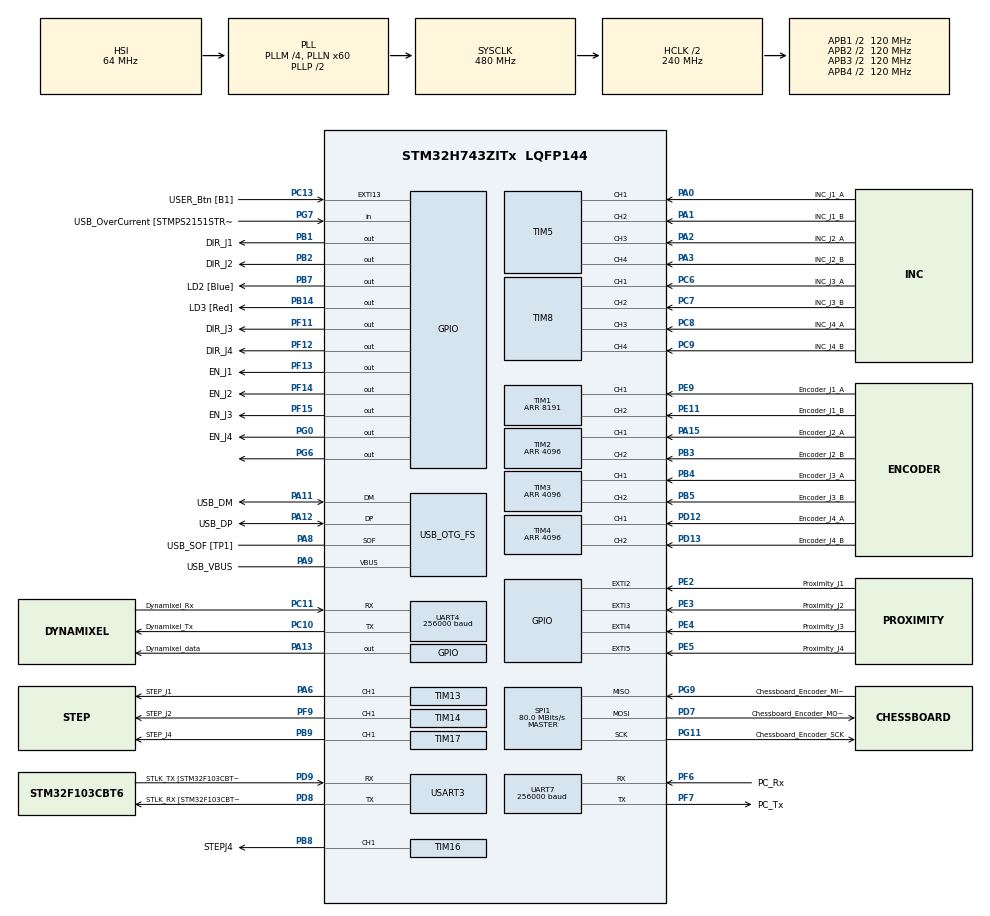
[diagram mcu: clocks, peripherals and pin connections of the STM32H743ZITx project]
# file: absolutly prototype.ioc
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ARM.CMSIS.5.7.0.CMSISJjCORE=true
ARM.CMSIS.5.7.0.CMSISJjDSP=Library
Dma.Request0=UART7_RX
Dma.Request1=UART7_TX
Dma.UART7_RX.0.Direction=DMA_PERIPH_TO_MEMORY
Dma.UART7_RX.0.EventEnable=DISABLE
Dma.UART7_RX.0.FIFOMode=DMA_FIFOMODE_DISABLE
Dma.UART7_RX.0.Instance=DMA1_Stream0
Dma.UART7_RX.0.MemDataAlignment=DMA_MDATAALIGN_BYTE
Dma.UART7_RX.0.MemInc=DMA_MINC_ENABLE
Dma.UART7_RX.0.Mode=DMA_CIRCULAR
Dma.UART7_RX.0.PeriphDataAlignment=DMA_PDATAALIGN_BYTE
Dma.UART7_RX.0.PeriphInc=DMA_PINC_DISABLE
Dma.UART7_RX.0.Polarity=HAL_DMAMUX_REQ_GEN_RISING
Dma.UART7_RX.0.Priority=DMA_PRIORITY_MEDIUM
Dma.UART7_RX.0.RequestNumber=1
Dma.UART7_RX.0.SignalID=NONE
Dma.UART7_RX.0.SyncEnable=DISABLE
Dma.UART7_RX.0.SyncPolarity=HAL_DMAMUX_SYNC_NO_EVENT
Dma.UART7_RX.0.SyncRequestNumber=1
Dma.UART7_RX.0.SyncSignalID=NONE
Dma.UART7_TX.1.Direction=DMA_MEMORY_TO_PERIPH
Dma.UART7_TX.1.EventEnable=DISABLE
Dma.UART7_TX.1.FIFOMode=DMA_FIFOMODE_DISABLE
Dma.UART7_TX.1.Instance=DMA1_Stream1
Dma.UART7_TX.1.MemDataAlignment=DMA_MDATAALIGN_BYTE
Dma.UART7_TX.1.MemInc=DMA_MINC_ENABLE
Dma.UART7_TX.1.Mode=DMA_NORMAL
Dma.UART7_TX.1.PeriphDataAlignment=DMA_PDATAALIGN_BYTE
Dma.UART7_TX.1.PeriphInc=DMA_PINC_DISABLE
Dma.UART7_TX.1.Polarity=HAL_DMAMUX_REQ_GEN_RISING
Dma.UART7_TX.1.Priority=DMA_PRIORITY_MEDIUM
Dma.UART7_TX.1.RequestNumber=1
Dma.UART7_TX.1.SignalID=NONE
Dma.UART7_TX.1.SyncEnable=DISABLE
Dma.UART7_TX.1.SyncPolarity=HAL_DMAMUX_SYNC_NO_EVENT
Dma.UART7_TX.1.SyncRequestNumber=1
Dma.UART7_TX.1.SyncSignalID=NONE
Mcu.Family=STM32H7
Mcu.Name=STM32H743ZITx
Mcu.Package=LQFP144
NVIC.DMA1_Stream0_IRQn=true\:0\:0\:false\:false\:true\:false\:true
NVIC.DMA1_Stream1_IRQn=true\:0\:0\:false\:false\:true\:false\:true
NVIC.EXTI2_IRQn=true\:0\:0\:false\:false\:true\:true\:true
NVIC.EXTI3_IRQn=true\:0\:0\:false\:false\:true\:true\:true
NVIC.EXTI4_IRQn=true\:0\:0\:false\:false\:true\:true\:true
NVIC.EXTI9_5_IRQn=true\:0\:0\:false\:false\:true\:true\:true
NVIC.PriorityGroup=NVIC_PRIORITYGROUP_4
NVIC.TIM6_DAC_IRQn=true\:0\:0\:false\:false\:true\:true\:true
PA0.GPIO_Label=INC_J1_A
PA0.Signal=S_TIM5_CH1
PA1.GPIO_Label=INC_J1_B
PA1.Signal=S_TIM5_CH2
PA10.GPIO_Label=USB_ID
PA10.Signal=USB_OTG_FS_ID
PA11.GPIO_Label=USB_DM
PA11.Mode=Device_Only
PA11.Signal=USB_OTG_FS_DM
PA12.GPIO_Label=USB_DP
PA12.Mode=Device_Only
PA12.Signal=USB_OTG_FS_DP
PA13\ (JTMS/SWDIO).GPIO_Label=Dynamixel_data
PA13\ (JTMS/SWDIO).Signal=GPIO_Output
PA15\ (JTDI).GPIO_Label=Encoder_J2_A
PA15\ (JTDI).Signal=S_TIM2_CH1
PA2.GPIO_Label=INC_J2_A
PA2.Signal=S_TIM5_CH3
PA3.GPIO_Label=INC_J2_B
PA3.Signal=S_TIM5_CH4
PA6.GPIO_Label=STEP_J1
PA6.Signal=S_TIM13_CH1
PA8.GPIO_Label=USB_SOF [TP1]
PA8.Mode=Activate_SOF_FS
PA8.Signal=USB_OTG_FS_SOF
PA9.GPIO_Label=USB_VBUS
PA9.Mode=Activate_VBUS
PA9.Signal=USB_OTG_FS_VBUS
PB1.GPIO_Label=DIR_J1
PB1.Signal=GPIO_Output
PB14.GPIO_Label=LD3 [Red]
PB14.Signal=GPIO_Output
PB2.GPIO_Label=DIR_J2
PB2.Signal=GPIO_Output
PB3\ (JTDO/TRACESWO).GPIO_Label=Encoder_J2_B
PB3\ (JTDO/TRACESWO).Signal=S_TIM2_CH2
PB4\ (NJTRST).GPIO_Label=Encoder_J3_A
PB4\ (NJTRST).Signal=S_TIM3_CH1
PB5.GPIO_Label=Encoder_J3_B
PB5.Signal=S_TIM3_CH2
PB7.GPIO_Label=LD2 [Blue]
PB7.Signal=GPIO_Output
PB8.GPIO_Label=STEPJ4
PB8.Signal=S_TIM16_CH1
PB9.GPIO_Label=STEP_J4
PB9.Signal=S_TIM17_CH1
PC10.GPIO_Label=Dynamixel_Tx
PC10.Mode=Asynchronous
PC10.Signal=UART4_TX
PC11.GPIO_Label=Dynamixel_Rx
PC11.Mode=Asynchronous
PC11.Signal=UART4_RX
PC13.GPIO_Label=USER_Btn [B1]
PC13.GPIO_PuPd=GPIO_NOPULL
PC13.Signal=GPXTI13
PC14-OSC32_IN\ (OSC32_IN).Mode=LSE-External-Oscillator
PC14-OSC32_IN\ (OSC32_IN).Signal=RCC_OSC32_IN
PC15-OSC32_OUT\ (OSC32_OUT).Mode=LSE-External-Oscillator
PC15-OSC32_OUT\ (OSC32_OUT).Signal=RCC_OSC32_OUT
PC6.GPIO_Label=INC_J3_A
PC6.Signal=S_TIM8_CH1
PC7.GPIO_Label=INC_J3_B
PC7.Signal=S_TIM8_CH2
PC8.GPIO_Label=INC_J4_A
PC8.Signal=S_TIM8_CH3
PC9.GPIO_Label=INC_J4_B
PC9.Signal=S_TIM8_CH4
PD12.GPIO_Label=Encoder_J4_A
PD12.Signal=S_TIM4_CH1
PD13.GPIO_Label=Encoder_J4_B
PD13.Signal=S_TIM4_CH2
PD7.GPIO_Label=Chessboard_Encoder_MOSI
PD7.Mode=Full_Duplex_Master
PD7.Signal=SPI1_MOSI
PD8.GPIO_Label=STLK_RX [STM32F103CBT6_PA3]
PD8.Mode=Asynchronous
PD8.Signal=USART3_TX
PD9.GPIO_Label=STLK_TX [STM32F103CBT6_PA2]
PD9.Mode=Asynchronous
PD9.Signal=USART3_RX
PE11.GPIO_Label=Encoder_J1_B
PE11.Signal=S_TIM1_CH2
PE2.GPIO_Label=Proximity_J1
PE2.GPIO_ModeDefaultEXTI=GPIO_MODE_IT_FALLING
PE2.GPIO_PuPd=GPIO_PULLUP
PE2.Signal=GPXTI2
PE3.GPIO_Label=Proximity_J2
PE3.GPIO_ModeDefaultEXTI=GPIO_MODE_IT_FALLING
PE3.GPIO_PuPd=GPIO_PULLUP
PE3.Signal=GPXTI3
PE4.GPIO_Label=Proximity_J3
PE4.GPIO_ModeDefaultEXTI=GPIO_MODE_IT_FALLING
PE4.GPIO_PuPd=GPIO_PULLUP
PE4.Signal=GPXTI4
PE5.GPIO_Label=Proximity_J4
PE5.GPIO_ModeDefaultEXTI=GPIO_MODE_IT_FALLING
PE5.GPIO_PuPd=GPIO_PULLUP
PE5.Signal=GPXTI5
PE9.GPIO_Label=Encoder_J1_A
PE9.Signal=S_TIM1_CH1
PF11.GPIO_Label=DIR_J3
PF11.Signal=GPIO_Output
PF12.GPIO_Label=DIR_J4
PF12.Signal=GPIO_Output
PF13.GPIO_Label=EN_J1
PF13.Signal=GPIO_Output
PF14.GPIO_Label=EN_J2
PF14.Signal=GPIO_Output
PF15.GPIO_Label=EN_J3
PF15.Signal=GPIO_Output
PF6.GPIO_Label=PC_Rx
PF6.Mode=Asynchronous
PF6.Signal=UART7_RX
PF7.GPIO_Label=PC_Tx
PF7.Mode=Asynchronous
PF7.Signal=UART7_TX
PF9.GPIO_Label=STEP_J2
PF9.Signal=S_TIM14_CH1
PG0.GPIO_Label=EN_J4
PG0.Signal=GPIO_Output
PG11.GPIO_Label=Chessboard_Encoder_SCK
PG11.Mode=Full_Duplex_Master
PG11.Signal=SPI1_SCK
PG6.Signal=GPIO_Output
PG7.GPIO_Label=USB_OverCurrent [STMPS2151STR_FAULT]
PG7.Signal=GPIO_Input
PG9.GPIO_Label=Chessboard_Encoder_MISO
PG9.Mode=Full_Duplex_Master
PG9.Signal=SPI1_MISO
PH0-OSC_IN\ (PH0).Mode=HSE-External-Oscillator
PH0-OSC_IN\ (PH0).Signal=RCC_OSC_IN
PH1-OSC_OUT\ (PH1).Mode=HSE-External-Oscillator
PH1-OSC_OUT\ (PH1).Signal=RCC_OSC_OUT
ProjectManager.HeapSize=0x200
ProjectManager.StackSize=0x400
ProjectManager.TargetToolchain=STM32CubeIDE
RCC.48MHZClocksFreq_Value=24000000
RCC.ADCCLockSelection=RCC_ADCCLKSOURCE_PLL2
RCC.ADCFreq_Value=160000000
RCC.AHBFreq_Value=216000000
RCC.APB1CLKDivider=RCC_HCLK_DIV4
RCC.APB1Freq_Value=120000000
RCC.APB1TimFreq_Value=108000000
RCC.APB2CLKDivider=RCC_HCLK_DIV2
RCC.APB2Freq_Value=120000000
RCC.APB2TimFreq_Value=216000000
RCC.APB3Freq_Value=120000000
RCC.APB4Freq_Value=120000000
RCC.CECCLockSelection=RCC_CECCLKSOURCE_LSI
RCC.CKPERSourceSelection=RCC_CLKPSOURCE_HSI
RCC.CSI_VALUE=4000000
RCC.CortexFreq_Value=480000000
RCC.Cortex_DivARG=SystemCoreClock/1000
RCC.D1PPRE=RCC_APB3_DIV2
RCC.D2PPRE1=RCC_APB1_DIV2
RCC.D2PPRE2=RCC_APB2_DIV2
RCC.D3PPRE=RCC_APB4_DIV2
RCC.DFSDMCLockSelection=RCC_DFSDM1CLKSOURCE_D2PCLK1
RCC.DIVM1=4
RCC.DIVM2=4
RCC.DIVN1=60
RCC.DIVN2=60
RCC.DIVP2=6
RCC.DIVQ1=6
RCC.DIVQ2=6
RCC.DSICLockSelection=RCC_DSICLKSOURCE_PHY
RCC.DSIPHY_Div=8
RCC.DSITX_Div=4
RCC.DSI_PHY_VALUE=12288000
RCC.EXTERNAL_CLOCK_VALUE=12288000
RCC.FDCANCLockSelection=RCC_FDCANCLKSOURCE_PLL
RCC.FMCCLockSelection=RCC_FMCCLKSOURCE_D1HCLK
RCC.HCLKFreq_Value=240000000
RCC.HPRE=RCC_HCLK_DIV2
RCC.HSE_VALUE=48000000
RCC.HSI_VALUE=64000000
RCC.I2C123CLockSelection=RCC_I2C123CLKSOURCE_D2PCLK1
RCC.I2C4CLockSelection=RCC_I2C4CLKSOURCE_D3PCLK1
RCC.LPTIM1CLockSelection=RCC_LPTIM1CLKSOURCE_D2PCLK1
RCC.LPTIM2CLockSelection=RCC_LPTIM2CLKSOURCE_D3PCLK1
RCC.LPTIM345CLockSelection=RCC_LPTIM345CLKSOURCE_D3PCLK1
RCC.LPUART1CLockSelection=RCC_LPUART1CLKSOURCE_D3PCLK1
RCC.PLLDSIDev=2
RCC.PLLDSIIDF=DSI_PLL_IN_DIV1
RCC.PLLDSIMult=2
RCC.PLLDSINDIV=20
RCC.PLLDSIODF=DSI_PLL_OUT_DIV1
RCC.PLLM=25
RCC.PLLMUL=RCC_PLL_MUL9
RCC.PLLN=432
RCC.PLLQ=9
RCC.PRESCALERUSB=RCC_USBCLKSOURCE_PLL_DIV1_5
RCC.QSPICLockSelection=RCC_QSPICLKSOURCE_D1HCLK
RCC.RC48_VALUE=48000000
RCC.RCC_MCO1Source=RCC_MCO1SOURCE_HSI
RCC.RCC_MCO2Source=RCC_MCO2SOURCE_SYSCLK
RCC.RNGCLockSelection=RCC_RNGCLKSOURCE_HSI48
RCC.SAI1CLockSelection=RCC_SAI1CLKSOURCE_PLL
RCC.SAI23CLockSelection=RCC_SAI23CLKSOURCE_PLL
RCC.SAI4ACLockSelection=RCC_SAI4ACLKSOURCE_PLL
RCC.SAI4BCLockSelection=RCC_SAI4BCLKSOURCE_PLL
RCC.SPDIFCLockSelection=RCC_SPDIFRXCLKSOURCE_PLL
RCC.SPI123CLockSelection=RCC_SPI123CLKSOURCE_PLL
RCC.SPI6CLockSelection=RCC_SPI6CLKSOURCE_D3PCLK1
RCC.SWPCLockSelection=RCC_SWPMI1CLKSOURCE_D2PCLK1
RCC.SYSCLKFreq_VALUE=480000000
RCC.SYSCLKSource=RCC_SYSCLKSOURCE_PLLCLK
RCC.SYSCLKSourceVirtual=RCC_SYSCLKSOURCE_PLLCLK
RCC.Spi45ClockSelection=RCC_SPI45CLKSOURCE_D2PCLK1
RCC.USART16CLockSelection=RCC_USART16CLKSOURCE_D2PCLK2
RCC.USART234578CLockSelection=RCC_USART234578CLKSOURCE_D2PCLK1
RCC.USBCLockSelection=RCC_USBCLKSOURCE_HSI48
RCC.USBFreq_Value=48000000
RCC.VCOOutputFreq_Value=432000000
SH.S_TIM13_CH1.0=TIM13_CH1,PWM Generation1 CH1
SH.S_TIM14_CH1.0=TIM14_CH1,PWM Generation1 CH1
SH.S_TIM16_CH1.0=TIM16_CH1,PWM Generation1 CH1
SH.S_TIM17_CH1.0=TIM17_CH1,PWM Generation1 CH1
SH.S_TIM1_CH1.0=TIM1_CH1,Encoder_Interface
SH.S_TIM1_CH2.0=TIM1_CH2,Encoder_Interface
SH.S_TIM2_CH1.0=TIM2_CH1,Encoder_Interface
SH.S_TIM2_CH2.0=TIM2_CH2,Encoder_Interface
SH.S_TIM3_CH1.0=TIM3_CH1,Encoder_Interface
SH.S_TIM3_CH2.0=TIM3_CH2,Encoder_Interface
SH.S_TIM4_CH1.0=TIM4_CH1,Encoder_Interface
SH.S_TIM4_CH2.0=TIM4_CH2,Encoder_Interface
SH.S_TIM5_CH1.0=TIM5_CH1,Input_Capture1_from_TI1
SH.S_TIM5_CH2.0=TIM5_CH2,Input_Capture2_from_TI2
SH.S_TIM5_CH3.0=TIM5_CH3,Input_Capture3_from_TI3
SH.S_TIM5_CH4.0=TIM5_CH4,Input_Capture4_from_TI4
SH.S_TIM8_CH1.0=TIM8_CH1,Input_Capture1_from_TI1
SH.S_TIM8_CH2.0=TIM8_CH2,Input_Capture2_from_TI2
SH.S_TIM8_CH3.0=TIM8_CH3,Input_Capture3_from_TI3
SH.S_TIM8_CH4.0=TIM8_CH4,Input_Capture4_from_TI4
SPI1.BaudRatePrescaler=SPI_BAUDRATEPRESCALER_2
SPI1.CalculateBaudRate=80.0 MBits/s
SPI1.DataSize=SPI_DATASIZE_8BIT
SPI1.Direction=SPI_DIRECTION_2LINES
SPI1.Mode=SPI_MODE_MASTER
SPI1.VirtualType=VM_MASTER
TIM1.AutoReloadPreload=TIM_AUTORELOAD_PRELOAD_ENABLE
TIM1.Period=8191
TIM13.Channel=TIM_CHANNEL_1
TIM13.Prescaler=199
TIM14.Channel=TIM_CHANNEL_1
TIM14.Prescaler=199
TIM16.Channel=TIM_CHANNEL_1
TIM16.Prescaler=199
TIM17.Channel=TIM_CHANNEL_1
TIM17.Prescaler=199
TIM2.Period=4096
TIM3.Period=4096
TIM4.Period=4096
TIM5.Channel-Input_Capture1_from_TI1=TIM_CHANNEL_1
TIM5.Channel-Input_Capture2_from_TI2=TIM_CHANNEL_2
TIM5.Channel-Input_Capture3_from_TI3=TIM_CHANNEL_3
TIM5.Channel-Input_Capture4_from_TI4=TIM_CHANNEL_4
TIM6.Period=1000
TIM6.Prescaler=119
TIM8.Channel-Input_Capture1_from_TI1=TIM_CHANNEL_1
TIM8.Channel-Input_Capture2_from_TI2=TIM_CHANNEL_2
TIM8.Channel-Input_Capture3_from_TI3=TIM_CHANNEL_3
TIM8.Channel-Input_Capture4_from_TI4=TIM_CHANNEL_4
UART4.BaudRate=256000
UART7.BaudRate=256000
USART3.VirtualMode-Asynchronous=VM_ASYNC
USB_OTG_FS.VirtualMode=Device_Only
VP_ARM.CMSIS_VS_CMSISJjCORE_5.4.0_5.7.0.Mode=CMSISJjCORE
VP_ARM.CMSIS_VS_CMSISJjDSP_1.8.0_5.7.0.Mode=CMSISJjDSP
VP_TIM13_VS_ClockSourceINT.Mode=Enable_Timer
VP_TIM14_VS_ClockSourceINT.Mode=Enable_Timer
VP_TIM16_VS_ClockSourceINT.Mode=Enable_Timer
VP_TIM17_VS_ClockSourceINT.Mode=Enable_Timer
VP_TIM6_VS_ClockSourceINT.Mode=Enable_Timer
board=NUCLEO-H743ZI

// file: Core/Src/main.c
/* USER CODE BEGIN Header */
/**
  ******************************************************************************
  * @file           : main.c
  * @brief          : Main program body
  ******************************************************************************
  * @attention
  *
  * <h2><center>&copy; Copyright (c) 2021 STMicroelectronics.
  * All rights reserved.</center></h2>
  *
  * This software component is licensed by ST under BSD 3-Clause license,
  * the "License"; You may not use this file except in compliance with the
  * License. You may obtain a copy of the License at:
  *                        opensource.org/licenses/BSD-3-Clause
  *
  ******************************************************************************
  */
/* USER CODE END Header */
#include "main.h"

SPI_HandleTypeDef hspi1;

TIM_HandleTypeDef htim1;
TIM_HandleTypeDef htim2;
TIM_HandleTypeDef htim3;
TIM_HandleTypeDef htim4;
TIM_HandleTypeDef htim5;
TIM_HandleTypeDef htim6;
TIM_HandleTypeDef htim8;
TIM_HandleTypeDef htim13;
TIM_HandleTypeDef htim14;
TIM_HandleTypeDef htim16;
TIM_HandleTypeDef htim17;

UART_HandleTypeDef huart4;
UART_HandleTypeDef huart7;
UART_HandleTypeDef huart3;
DMA_HandleTypeDef hdma_uart7_rx;
DMA_HandleTypeDef hdma_uart7_tx;

PCD_HandleTypeDef hpcd_USB_OTG_FS;

/* USER CODE BEGIN PV */
//Global Variable Here !!!
uint16_t Home_Set[4] = {0};
uint16_t Motor_Number[4] = {0};
uint16_t Dir_Motor[4] = {0};
uint16_t EncoderValue16[3]={0};  //J1 J3 J4
uint32_t EncoderValue32 = 0; //J2
uint32_t count=0;
uint32_t count_error=0;
uint16_t error_count_clk =0;
/* USER CODE END PV */

void SystemClock_Config(void);
static void MX_GPIO_Init(void);
static void MX_DMA_Init(void);
static void MX_USART3_UART_Init(void);
static void MX_USB_OTG_FS_PCD_Init(void);
static void MX_TIM2_Init(void);
static void MX_TIM3_Init(void);
static void MX_TIM4_Init(void);
static void MX_TIM8_Init(void);
static void MX_UART4_Init(void);
static void MX_TIM1_Init(void);
static void MX_TIM6_Init(void);
static void MX_UART7_Init(void);
static void MX_SPI1_Init(void);
static void MX_TIM5_Init(void);
static void MX_TIM14_Init(void);
static void MX_TIM16_Init(void);
static void MX_TIM17_Init(void);
static void MX_TIM13_Init(void);
/* USER CODE BEGIN PFP */

//define Prototype Function Here !!!!!
static void sethome();
static void Start_debug(uint16_t Parameter);
static void Update_Period(uint8_t Motor_Number[],double Freequency,float Duty_Cycle);
/* USER CODE END PFP */

int main(void)
{

  /* MCU Configuration--------------------------------------------------------*/

  /* Reset of all peripherals, Initializes the Flash interface and the Systick. */
  HAL_Init();

  /* Configure the system clock */
  SystemClock_Config();

  /* Initialize all configured peripherals */
  MX_GPIO_Init();
  MX_DMA_Init();
  MX_USART3_UART_Init();
  MX_USB_OTG_FS_PCD_Init();
  MX_TIM2_Init();
  MX_TIM3_Init();
  MX_TIM4_Init();
  MX_TIM8_Init();
  MX_UART4_Init();
  MX_TIM1_Init();
  MX_TIM6_Init();
  MX_UART7_Init();
  MX_SPI1_Init();
  MX_TIM5_Init();
  MX_TIM14_Init();
  MX_TIM16_Init();
  MX_TIM17_Init();
  MX_TIM13_Init();
  /* USER CODE BEGIN 2 */

  //Initialize PWM for motor J1 J2 J3 J4
  HAL_TIM_PWM_Start(&htim13, TIM_CHANNEL_1);
  HAL_TIM_PWM_Start(&htim14, TIM_CHANNEL_1);
  HAL_TIM_PWM_Start(&htim16, TIM_CHANNEL_1);
  HAL_TIM_PWM_Start(&htim17, TIM_CHANNEL_1);
  //Initialize Timer For encoder J1 J2 J3 J4
  HAL_TIM_Encoder_Start(&htim1, TIM_CHANNEL_ALL);
  HAL_TIM_Encoder_Start(&htim2, TIM_CHANNEL_ALL);
  HAL_TIM_Encoder_Start(&htim3, TIM_CHANNEL_ALL);
  HAL_TIM_Encoder_Start(&htim4, TIM_CHANNEL_ALL);
  //Initialize Timer For Control Loop
  HAL_TIM_Base_Start(&htim6);
  count += 50;
  count++;
  /* USER CODE END 2 */

  /* Infinite loop */
  /* USER CODE BEGIN WHILE */
  while (1)
  {
	  count = 3;
    /* USER CODE END WHILE */

    /* USER CODE BEGIN 3 */

	//System state !!!!!

	//encoder read
//	EncoderValue16[0] = TIM1->CNT;
//	EncoderValue32 = TIM2->CNT;
//	EncoderValue16[2] = TIM3->CNT;
//	EncoderValue16[3] = TIM4->CNT;

  }
  /* USER CODE END 3 */
}

void SystemClock_Config(void)
{
  RCC_OscInitTypeDef RCC_OscInitStruct = {0};
  RCC_ClkInitTypeDef RCC_ClkInitStruct = {0};

  /** Supply configuration update enable
  */
  HAL_PWREx_ConfigSupply(PWR_LDO_SUPPLY);
  /** Configure the main internal regulator output voltage
  */
  __HAL_PWR_VOLTAGESCALING_CONFIG(PWR_REGULATOR_VOLTAGE_SCALE0);

  while(!__HAL_PWR_GET_FLAG(PWR_FLAG_VOSRDY)) {}
  /** Initializes the RCC Oscillators according to the specified parameters
  * in the RCC_OscInitTypeDef structure.
  */
  RCC_OscInitStruct.OscillatorType = RCC_OSCILLATORTYPE_HSI;
  RCC_OscInitStruct.HSIState = RCC_HSI_DIV1;
  RCC_OscInitStruct.HSICalibrationValue = RCC_HSICALIBRATION_DEFAULT;
  RCC_OscInitStruct.PLL.PLLState = RCC_PLL_ON;
  RCC_OscInitStruct.PLL.PLLSource = RCC_PLLSOURCE_HSI;
  RCC_OscInitStruct.PLL.PLLM = 4;
  RCC_OscInitStruct.PLL.PLLN = 60;
  RCC_OscInitStruct.PLL.PLLP = 2;
  RCC_OscInitStruct.PLL.PLLQ = 6;
  RCC_OscInitStruct.PLL.PLLR = 2;
  RCC_OscInitStruct.PLL.PLLRGE = RCC_PLL1VCIRANGE_3;
  RCC_OscInitStruct.PLL.PLLVCOSEL = RCC_PLL1VCOWIDE;
  RCC_OscInitStruct.PLL.PLLFRACN = 0;
  if (HAL_RCC_OscConfig(&RCC_OscInitStruct) != HAL_OK)
  {
    Error_Handler();
  }
  /** Initializes the CPU, AHB and APB buses clocks
  */
  RCC_ClkInitStruct.ClockType = RCC_CLOCKTYPE_HCLK|RCC_CLOCKTYPE_SYSCLK
                              |RCC_CLOCKTYPE_PCLK1|RCC_CLOCKTYPE_PCLK2
                              |RCC_CLOCKTYPE_D3PCLK1|RCC_CLOCKTYPE_D1PCLK1;
  RCC_ClkInitStruct.SYSCLKSource = RCC_SYSCLKSOURCE_PLLCLK;
  RCC_ClkInitStruct.SYSCLKDivider = RCC_SYSCLK_DIV1;
  RCC_ClkInitStruct.AHBCLKDivider = RCC_HCLK_DIV2;
  RCC_ClkInitStruct.APB3CLKDivider = RCC_APB3_DIV2;
  RCC_ClkInitStruct.APB1CLKDivider = RCC_APB1_DIV2;
  RCC_ClkInitStruct.APB2CLKDivider = RCC_APB2_DIV2;
  RCC_ClkInitStruct.APB4CLKDivider = RCC_APB4_DIV2;

  if (HAL_RCC_ClockConfig(&RCC_ClkInitStruct, FLASH_LATENCY_4) != HAL_OK)
  {
    Error_Handler();
  }
}
static void MX_SPI1_Init(void)
{

  /* SPI1 parameter configuration*/
  hspi1.Instance = SPI1;
  hspi1.Init.Mode = SPI_MODE_MASTER;
  hspi1.Init.Direction = SPI_DIRECTION_2LINES;
  hspi1.Init.DataSize = SPI_DATASIZE_8BIT;
  hspi1.Init.CLKPolarity = SPI_POLARITY_LOW;
  hspi1.Init.CLKPhase = SPI_PHASE_1EDGE;
  hspi1.Init.NSS = SPI_NSS_SOFT;
  hspi1.Init.BaudRatePrescaler = SPI_BAUDRATEPRESCALER_2;
  hspi1.Init.FirstBit = SPI_FIRSTBIT_MSB;
  hspi1.Init.TIMode = SPI_TIMODE_DISABLE;
  hspi1.Init.CRCCalculation = SPI_CRCCALCULATION_DISABLE;
  hspi1.Init.CRCPolynomial = 0x0;
  hspi1.Init.NSSPMode = SPI_NSS_PULSE_ENABLE;
  hspi1.Init.NSSPolarity = SPI_NSS_POLARITY_LOW;
  hspi1.Init.FifoThreshold = SPI_FIFO_THRESHOLD_01DATA;
  hspi1.Init.TxCRCInitializationPattern = SPI_CRC_INITIALIZATION_ALL_ZERO_PATTERN;
  hspi1.Init.RxCRCInitializationPattern = SPI_CRC_INITIALIZATION_ALL_ZERO_PATTERN;
  hspi1.Init.MasterSSIdleness = SPI_MASTER_SS_IDLENESS_00CYCLE;
  hspi1.Init.MasterInterDataIdleness = SPI_MASTER_INTERDATA_IDLENESS_00CYCLE;
  hspi1.Init.MasterReceiverAutoSusp = SPI_MASTER_RX_AUTOSUSP_DISABLE;
  hspi1.Init.MasterKeepIOState = SPI_MASTER_KEEP_IO_STATE_DISABLE;
  hspi1.Init.IOSwap = SPI_IO_SWAP_DISABLE;
  if (HAL_SPI_Init(&hspi1) != HAL_OK)
  {
    Error_Handler();
  }

}

static void MX_TIM1_Init(void)
{

  TIM_Encoder_InitTypeDef sConfig = {0};
  TIM_MasterConfigTypeDef sMasterConfig = {0};

  htim1.Instance = TIM1;
  htim1.Init.Prescaler = 0;
  htim1.Init.CounterMode = TIM_COUNTERMODE_UP;
  htim1.Init.Period = 8191;
  htim1.Init.ClockDivision = TIM_CLOCKDIVISION_DIV1;
  htim1.Init.RepetitionCounter = 0;
  htim1.Init.AutoReloadPreload = TIM_AUTORELOAD_PRELOAD_ENABLE;
  sConfig.EncoderMode = TIM_ENCODERMODE_TI1;
  sConfig.IC1Polarity = TIM_ICPOLARITY_RISING;
  sConfig.IC1Selection = TIM_ICSELECTION_DIRECTTI;
  sConfig.IC1Prescaler = TIM_ICPSC_DIV1;
  sConfig.IC1Filter = 0;
  sConfig.IC2Polarity = TIM_ICPOLARITY_RISING;
  sConfig.IC2Selection = TIM_ICSELECTION_DIRECTTI;
  sConfig.IC2Prescaler = TIM_ICPSC_DIV1;
  sConfig.IC2Filter = 0;
  if (HAL_TIM_Encoder_Init(&htim1, &sConfig) != HAL_OK)
  {
    Error_Handler();
  }
  sMasterConfig.MasterOutputTrigger = TIM_TRGO_RESET;
  sMasterConfig.MasterOutputTrigger2 = TIM_TRGO2_RESET;
  sMasterConfig.MasterSlaveMode = TIM_MASTERSLAVEMODE_DISABLE;
  if (HAL_TIMEx_MasterConfigSynchronization(&htim1, &sMasterConfig) != HAL_OK)
  {
    Error_Handler();
  }

}

static void MX_TIM2_Init(void)
{

  TIM_Encoder_InitTypeDef sConfig = {0};
  TIM_MasterConfigTypeDef sMasterConfig = {0};

  htim2.Instance = TIM2;
  htim2.Init.Prescaler = 0;
  htim2.Init.CounterMode = TIM_COUNTERMODE_UP;
  htim2.Init.Period = 4096;
  htim2.Init.ClockDivision = TIM_CLOCKDIVISION_DIV1;
  htim2.Init.AutoReloadPreload = TIM_AUTORELOAD_PRELOAD_DISABLE;
  sConfig.EncoderMode = TIM_ENCODERMODE_TI1;
  sConfig.IC1Polarity = TIM_ICPOLARITY_RISING;
  sConfig.IC1Selection = TIM_ICSELECTION_DIRECTTI;
  sConfig.IC1Prescaler = TIM_ICPSC_DIV1;
  sConfig.IC1Filter = 0;
  sConfig.IC2Polarity = TIM_ICPOLARITY_RISING;
  sConfig.IC2Selection = TIM_ICSELECTION_DIRECTTI;
  sConfig.IC2Prescaler = TIM_ICPSC_DIV1;
  sConfig.IC2Filter = 0;
  if (HAL_TIM_Encoder_Init(&htim2, &sConfig) != HAL_OK)
  {
    Error_Handler();
  }
  sMasterConfig.MasterOutputTrigger = TIM_TRGO_RESET;
  sMasterConfig.MasterSlaveMode = TIM_MASTERSLAVEMODE_DISABLE;
  if (HAL_TIMEx_MasterConfigSynchronization(&htim2, &sMasterConfig) != HAL_OK)
  {
    Error_Handler();
  }

}

static void MX_TIM3_Init(void)
{

  TIM_Encoder_InitTypeDef sConfig = {0};
  TIM_MasterConfigTypeDef sMasterConfig = {0};

  htim3.Instance = TIM3;
  htim3.Init.Prescaler = 0;
  htim3.Init.CounterMode = TIM_COUNTERMODE_UP;
  htim3.Init.Period = 4096;
  htim3.Init.ClockDivision = TIM_CLOCKDIVISION_DIV1;
  htim3.Init.AutoReloadPreload = TIM_AUTORELOAD_PRELOAD_DISABLE;
  sConfig.EncoderMode = TIM_ENCODERMODE_TI1;
  sConfig.IC1Polarity = TIM_ICPOLARITY_RISING;
  sConfig.IC1Selection = TIM_ICSELECTION_DIRECTTI;
  sConfig.IC1Prescaler = TIM_ICPSC_DIV1;
  sConfig.IC1Filter = 0;
  sConfig.IC2Polarity = TIM_ICPOLARITY_RISING;
  sConfig.IC2Selection = TIM_ICSELECTION_DIRECTTI;
  sConfig.IC2Prescaler = TIM_ICPSC_DIV1;
  sConfig.IC2Filter = 0;
  if (HAL_TIM_Encoder_Init(&htim3, &sConfig) != HAL_OK)
  {
    Error_Handler();
  }
  sMasterConfig.MasterOutputTrigger = TIM_TRGO_RESET;
  sMasterConfig.MasterSlaveMode = TIM_MASTERSLAVEMODE_DISABLE;
  if (HAL_TIMEx_MasterConfigSynchronization(&htim3, &sMasterConfig) != HAL_OK)
  {
    Error_Handler();
  }

}

static void MX_TIM4_Init(void)
{

  TIM_Encoder_InitTypeDef sConfig = {0};
  TIM_MasterConfigTypeDef sMasterConfig = {0};

  htim4.Instance = TIM4;
  htim4.Init.Prescaler = 0;
  htim4.Init.CounterMode = TIM_COUNTERMODE_UP;
  htim4.Init.Period = 4096;
  htim4.Init.ClockDivision = TIM_CLOCKDIVISION_DIV1;
  htim4.Init.AutoReloadPreload = TIM_AUTORELOAD_PRELOAD_DISABLE;
  sConfig.EncoderMode = TIM_ENCODERMODE_TI1;
  sConfig.IC1Polarity = TIM_ICPOLARITY_RISING;
  sConfig.IC1Selection = TIM_ICSELECTION_DIRECTTI;
  sConfig.IC1Prescaler = TIM_ICPSC_DIV1;
  sConfig.IC1Filter = 0;
  sConfig.IC2Polarity = TIM_ICPOLARITY_RISING;
  sConfig.IC2Selection = TIM_ICSELECTION_DIRECTTI;
  sConfig.IC2Prescaler = TIM_ICPSC_DIV1;
  sConfig.IC2Filter = 0;
  if (HAL_TIM_Encoder_Init(&htim4, &sConfig) != HAL_OK)
  {
    Error_Handler();
  }
  sMasterConfig.MasterOutputTrigger = TIM_TRGO_RESET;
  sMasterConfig.MasterSlaveMode = TIM_MASTERSLAVEMODE_DISABLE;
  if (HAL_TIMEx_MasterConfigSynchronization(&htim4, &sMasterConfig) != HAL_OK)
  {
    Error_Handler();
  }

}

static void MX_TIM5_Init(void)
{

  TIM_MasterConfigTypeDef sMasterConfig = {0};
  TIM_IC_InitTypeDef sConfigIC = {0};

  htim5.Instance = TIM5;
  htim5.Init.Prescaler = 0;
  htim5.Init.CounterMode = TIM_COUNTERMODE_UP;
  htim5.Init.Period = 4294967295;
  htim5.Init.ClockDivision = TIM_CLOCKDIVISION_DIV1;
  htim5.Init.AutoReloadPreload = TIM_AUTORELOAD_PRELOAD_DISABLE;
  if (HAL_TIM_IC_Init(&htim5) != HAL_OK)
  {
    Error_Handler();
  }
  sMasterConfig.MasterOutputTrigger = TIM_TRGO_RESET;
  sMasterConfig.MasterSlaveMode = TIM_MASTERSLAVEMODE_DISABLE;
  if (HAL_TIMEx_MasterConfigSynchronization(&htim5, &sMasterConfig) != HAL_OK)
  {
    Error_Handler();
  }
  sConfigIC.ICPolarity = TIM_INPUTCHANNELPOLARITY_RISING;
  sConfigIC.ICSelection = TIM_ICSELECTION_DIRECTTI;
  sConfigIC.ICPrescaler = TIM_ICPSC_DIV1;
  sConfigIC.ICFilter = 0;
  if (HAL_TIM_IC_ConfigChannel(&htim5, &sConfigIC, TIM_CHANNEL_1) != HAL_OK)
  {
    Error_Handler();
  }
  if (HAL_TIM_IC_ConfigChannel(&htim5, &sConfigIC, TIM_CHANNEL_2) != HAL_OK)
  {
    Error_Handler();
  }
  if (HAL_TIM_IC_ConfigChannel(&htim5, &sConfigIC, TIM_CHANNEL_3) != HAL_OK)
  {
    Error_Handler();
  }
  if (HAL_TIM_IC_ConfigChannel(&htim5, &sConfigIC, TIM_CHANNEL_4) != HAL_OK)
  {
    Error_Handler();
  }

}

static void MX_TIM6_Init(void)
{

  TIM_MasterConfigTypeDef sMasterConfig = {0};

  htim6.Instance = TIM6;
  htim6.Init.Prescaler = 119;
  htim6.Init.CounterMode = TIM_COUNTERMODE_UP;
  htim6.Init.Period = 1000;
  htim6.Init.AutoReloadPreload = TIM_AUTORELOAD_PRELOAD_DISABLE;
  if (HAL_TIM_Base_Init(&htim6) != HAL_OK)
  {
    Error_Handler();
  }
  sMasterConfig.MasterOutputTrigger = TIM_TRGO_RESET;
  sMasterConfig.MasterSlaveMode = TIM_MASTERSLAVEMODE_DISABLE;
  if (HAL_TIMEx_MasterConfigSynchronization(&htim6, &sMasterConfig) != HAL_OK)
  {
    Error_Handler();
  }

}

static void MX_TIM8_Init(void)
{

  TIM_MasterConfigTypeDef sMasterConfig = {0};
  TIM_IC_InitTypeDef sConfigIC = {0};

  htim8.Instance = TIM8;
  htim8.Init.Prescaler = 0;
  htim8.Init.CounterMode = TIM_COUNTERMODE_UP;
  htim8.Init.Period = 65535;
  htim8.Init.ClockDivision = TIM_CLOCKDIVISION_DIV1;
  htim8.Init.RepetitionCounter = 0;
  htim8.Init.AutoReloadPreload = TIM_AUTORELOAD_PRELOAD_DISABLE;
  if (HAL_TIM_IC_Init(&htim8) != HAL_OK)
  {
    Error_Handler();
  }
  sMasterConfig.MasterOutputTrigger = TIM_TRGO_RESET;
  sMasterConfig.MasterOutputTrigger2 = TIM_TRGO2_RESET;
  sMasterConfig.MasterSlaveMode = TIM_MASTERSLAVEMODE_DISABLE;
  if (HAL_TIMEx_MasterConfigSynchronization(&htim8, &sMasterConfig) != HAL_OK)
  {
    Error_Handler();
  }
  sConfigIC.ICPolarity = TIM_INPUTCHANNELPOLARITY_RISING;
  sConfigIC.ICSelection = TIM_ICSELECTION_DIRECTTI;
  sConfigIC.ICPrescaler = TIM_ICPSC_DIV1;
  sConfigIC.ICFilter = 0;
  if (HAL_TIM_IC_ConfigChannel(&htim8, &sConfigIC, TIM_CHANNEL_1) != HAL_OK)
  {
    Error_Handler();
  }
  if (HAL_TIM_IC_ConfigChannel(&htim8, &sConfigIC, TIM_CHANNEL_2) != HAL_OK)
  {
    Error_Handler();
  }
  if (HAL_TIM_IC_ConfigChannel(&htim8, &sConfigIC, TIM_CHANNEL_3) != HAL_OK)
  {
    Error_Handler();
  }
  if (HAL_TIM_IC_ConfigChannel(&htim8, &sConfigIC, TIM_CHANNEL_4) != HAL_OK)
  {
    Error_Handler();
  }

}

static void MX_TIM13_Init(void)
{

  TIM_OC_InitTypeDef sConfigOC = {0};

  htim13.Instance = TIM13;
  htim13.Init.Prescaler = 199;
  htim13.Init.CounterMode = TIM_COUNTERMODE_UP;
  htim13.Init.Period = 65535;
  htim13.Init.ClockDivision = TIM_CLOCKDIVISION_DIV1;
  htim13.Init.AutoReloadPreload = TIM_AUTORELOAD_PRELOAD_DISABLE;
  if (HAL_TIM_Base_Init(&htim13) != HAL_OK)
  {
    Error_Handler();
  }
  if (HAL_TIM_PWM_Init(&htim13) != HAL_OK)
  {
    Error_Handler();
  }
  sConfigOC.OCMode = TIM_OCMODE_PWM1;
  sConfigOC.Pulse = 0;
  sConfigOC.OCPolarity = TIM_OCPOLARITY_HIGH;
  sConfigOC.OCFastMode = TIM_OCFAST_DISABLE;
  if (HAL_TIM_PWM_ConfigChannel(&htim13, &sConfigOC, TIM_CHANNEL_1) != HAL_OK)
  {
    Error_Handler();
  }
  HAL_TIM_MspPostInit(&htim13);

}

static void MX_TIM14_Init(void)
{

  TIM_OC_InitTypeDef sConfigOC = {0};

  htim14.Instance = TIM14;
  htim14.Init.Prescaler = 199;
  htim14.Init.CounterMode = TIM_COUNTERMODE_UP;
  htim14.Init.Period = 65535;
  htim14.Init.ClockDivision = TIM_CLOCKDIVISION_DIV1;
  htim14.Init.AutoReloadPreload = TIM_AUTORELOAD_PRELOAD_DISABLE;
  if (HAL_TIM_Base_Init(&htim14) != HAL_OK)
  {
    Error_Handler();
  }
  if (HAL_TIM_PWM_Init(&htim14) != HAL_OK)
  {
    Error_Handler();
  }
  sConfigOC.OCMode = TIM_OCMODE_PWM1;
  sConfigOC.Pulse = 0;
  sConfigOC.OCPolarity = TIM_OCPOLARITY_HIGH;
  sConfigOC.OCFastMode = TIM_OCFAST_DISABLE;
  if (HAL_TIM_PWM_ConfigChannel(&htim14, &sConfigOC, TIM_CHANNEL_1) != HAL_OK)
  {
    Error_Handler();
  }
  HAL_TIM_MspPostInit(&htim14);

}

static void MX_TIM16_Init(void)
{

  TIM_OC_InitTypeDef sConfigOC = {0};
  TIM_BreakDeadTimeConfigTypeDef sBreakDeadTimeConfig = {0};

  htim16.Instance = TIM16;
  htim16.Init.Prescaler = 199;
  htim16.Init.CounterMode = TIM_COUNTERMODE_UP;
  htim16.Init.Period = 65535;
  htim16.Init.ClockDivision = TIM_CLOCKDIVISION_DIV1;
  htim16.Init.RepetitionCounter = 0;
  htim16.Init.AutoReloadPreload = TIM_AUTORELOAD_PRELOAD_DISABLE;
  if (HAL_TIM_Base_Init(&htim16) != HAL_OK)
  {
    Error_Handler();
  }
  if (HAL_TIM_PWM_Init(&htim16) != HAL_OK)
  {
    Error_Handler();
  }
  sConfigOC.OCMode = TIM_OCMODE_PWM1;
  sConfigOC.Pulse = 0;
  sConfigOC.OCPolarity = TIM_OCPOLARITY_HIGH;
  sConfigOC.OCNPolarity = TIM_OCNPOLARITY_HIGH;
  sConfigOC.OCFastMode = TIM_OCFAST_DISABLE;
  sConfigOC.OCIdleState = TIM_OCIDLESTATE_RESET;
  sConfigOC.OCNIdleState = TIM_OCNIDLESTATE_RESET;
  if (HAL_TIM_PWM_ConfigChannel(&htim16, &sConfigOC, TIM_CHANNEL_1) != HAL_OK)
  {
    Error_Handler();
  }
  sBreakDeadTimeConfig.OffStateRunMode = TIM_OSSR_DISABLE;
  sBreakDeadTimeConfig.OffStateIDLEMode = TIM_OSSI_DISABLE;
  sBreakDeadTimeConfig.LockLevel = TIM_LOCKLEVEL_OFF;
  sBreakDeadTimeConfig.DeadTime = 0;
  sBreakDeadTimeConfig.BreakState = TIM_BREAK_DISABLE;
  sBreakDeadTimeConfig.BreakPolarity = TIM_BREAKPOLARITY_HIGH;
  sBreakDeadTimeConfig.BreakFilter = 0;
  sBreakDeadTimeConfig.AutomaticOutput = TIM_AUTOMATICOUTPUT_DISABLE;
  if (HAL_TIMEx_ConfigBreakDeadTime(&htim16, &sBreakDeadTimeConfig) != HAL_OK)
  {
    Error_Handler();
  }
  HAL_TIM_MspPostInit(&htim16);

}

static void MX_TIM17_Init(void)
{

  TIM_OC_InitTypeDef sConfigOC = {0};
  TIM_BreakDeadTimeConfigTypeDef sBreakDeadTimeConfig = {0};

  htim17.Instance = TIM17;
  htim17.Init.Prescaler = 199;
  htim17.Init.CounterMode = TIM_COUNTERMODE_UP;
  htim17.Init.Period = 65535;
  htim17.Init.ClockDivision = TIM_CLOCKDIVISION_DIV1;
  htim17.Init.RepetitionCounter = 0;
  htim17.Init.AutoReloadPreload = TIM_AUTORELOAD_PRELOAD_DISABLE;
  if (HAL_TIM_Base_Init(&htim17) != HAL_OK)
  {
    Error_Handler();
  }
  if (HAL_TIM_PWM_Init(&htim17) != HAL_OK)
  {
    Error_Handler();
  }
  sConfigOC.OCMode = TIM_OCMODE_PWM1;
  sConfigOC.Pulse = 0;
  sConfigOC.OCPolarity = TIM_OCPOLARITY_HIGH;
  sConfigOC.OCNPolarity = TIM_OCNPOLARITY_HIGH;
  sConfigOC.OCFastMode = TIM_OCFAST_DISABLE;
  sConfigOC.OCIdleState = TIM_OCIDLESTATE_RESET;
  sConfigOC.OCNIdleState = TIM_OCNIDLESTATE_RESET;
  if (HAL_TIM_PWM_ConfigChannel(&htim17, &sConfigOC, TIM_CHANNEL_1) != HAL_OK)
  {
    Error_Handler();
  }
  sBreakDeadTimeConfig.OffStateRunMode = TIM_OSSR_DISABLE;
  sBreakDeadTimeConfig.OffStateIDLEMode = TIM_OSSI_DISABLE;
  sBreakDeadTimeConfig.LockLevel = TIM_LOCKLEVEL_OFF;
  sBreakDeadTimeConfig.DeadTime = 0;
  sBreakDeadTimeConfig.BreakState = TIM_BREAK_DISABLE;
  sBreakDeadTimeConfig.BreakPolarity = TIM_BREAKPOLARITY_HIGH;
  sBreakDeadTimeConfig.BreakFilter = 0;
  sBreakDeadTimeConfig.AutomaticOutput = TIM_AUTOMATICOUTPUT_DISABLE;
  if (HAL_TIMEx_ConfigBreakDeadTime(&htim17, &sBreakDeadTimeConfig) != HAL_OK)
  {
    Error_Handler();
  }
  HAL_TIM_MspPostInit(&htim17);

}

static void MX_UART4_Init(void)
{

  huart4.Instance = UART4;
  huart4.Init.BaudRate = 256000;
  huart4.Init.WordLength = UART_WORDLENGTH_8B;
  huart4.Init.StopBits = UART_STOPBITS_1;
  huart4.Init.Parity = UART_PARITY_NONE;
  huart4.Init.Mode = UART_MODE_TX_RX;
  huart4.Init.HwFlowCtl = UART_HWCONTROL_NONE;
  huart4.Init.OverSampling = UART_OVERSAMPLING_16;
  huart4.Init.OneBitSampling = UART_ONE_BIT_SAMPLE_DISABLE;
  huart4.Init.ClockPrescaler = UART_PRESCALER_DIV1;
  huart4.AdvancedInit.AdvFeatureInit = UART_ADVFEATURE_NO_INIT;
  if (HAL_UART_Init(&huart4) != HAL_OK)
  {
    Error_Handler();
  }
  if (HAL_UARTEx_SetTxFifoThreshold(&huart4, UART_TXFIFO_THRESHOLD_1_8) != HAL_OK)
  {
    Error_Handler();
  }
  if (HAL_UARTEx_SetRxFifoThreshold(&huart4, UART_RXFIFO_THRESHOLD_1_8) != HAL_OK)
  {
    Error_Handler();
  }
  if (HAL_UARTEx_DisableFifoMode(&huart4) != HAL_OK)
  {
    Error_Handler();
  }

}

static void MX_UART7_Init(void)
{

  huart7.Instance = UART7;
  huart7.Init.BaudRate = 256000;
  huart7.Init.WordLength = UART_WORDLENGTH_8B;
  huart7.Init.StopBits = UART_STOPBITS_1;
  huart7.Init.Parity = UART_PARITY_NONE;
  huart7.Init.Mode = UART_MODE_TX_RX;
  huart7.Init.HwFlowCtl = UART_HWCONTROL_NONE;
  huart7.Init.OverSampling = UART_OVERSAMPLING_16;
  huart7.Init.OneBitSampling = UART_ONE_BIT_SAMPLE_DISABLE;
  huart7.Init.ClockPrescaler = UART_PRESCALER_DIV1;
  huart7.AdvancedInit.AdvFeatureInit = UART_ADVFEATURE_NO_INIT;
  if (HAL_UART_Init(&huart7) != HAL_OK)
  {
    Error_Handler();
  }
  if (HAL_UARTEx_SetTxFifoThreshold(&huart7, UART_TXFIFO_THRESHOLD_1_8) != HAL_OK)
  {
    Error_Handler();
  }
  if (HAL_UARTEx_SetRxFifoThreshold(&huart7, UART_RXFIFO_THRESHOLD_1_8) != HAL_OK)
  {
    Error_Handler();
  }
  if (HAL_UARTEx_DisableFifoMode(&huart7) != HAL_OK)
  {
    Error_Handler();
  }

}

static void MX_USART3_UART_Init(void)
{

  huart3.Instance = USART3;
  huart3.Init.BaudRate = 115200;
  huart3.Init.WordLength = UART_WORDLENGTH_8B;
  huart3.Init.StopBits = UART_STOPBITS_1;
  huart3.Init.Parity = UART_PARITY_NONE;
  huart3.Init.Mode = UART_MODE_TX_RX;
  huart3.Init.HwFlowCtl = UART_HWCONTROL_NONE;
  huart3.Init.OverSampling = UART_OVERSAMPLING_16;
  huart3.Init.OneBitSampling = UART_ONE_BIT_SAMPLE_DISABLE;
  huart3.Init.ClockPrescaler = UART_PRESCALER_DIV1;
  huart3.AdvancedInit.AdvFeatureInit = UART_ADVFEATURE_NO_INIT;
  if (HAL_UART_Init(&huart3) != HAL_OK)
  {
    Error_Handler();
  }
  if (HAL_UARTEx_SetTxFifoThreshold(&huart3, UART_TXFIFO_THRESHOLD_1_8) != HAL_OK)
  {
    Error_Handler();
  }
  if (HAL_UARTEx_SetRxFifoThreshold(&huart3, UART_RXFIFO_THRESHOLD_1_8) != HAL_OK)
  {
    Error_Handler();
  }
  if (HAL_UARTEx_DisableFifoMode(&huart3) != HAL_OK)
  {
    Error_Handler();
  }

}

static void MX_USB_OTG_FS_PCD_Init(void)
{

  hpcd_USB_OTG_FS.Instance = USB_OTG_FS;
  hpcd_USB_OTG_FS.Init.dev_endpoints = 9;
  hpcd_USB_OTG_FS.Init.speed = PCD_SPEED_FULL;
  hpcd_USB_OTG_FS.Init.dma_enable = DISABLE;
  hpcd_USB_OTG_FS.Init.phy_itface = PCD_PHY_EMBEDDED;
  hpcd_USB_OTG_FS.Init.Sof_enable = ENABLE;
  hpcd_USB_OTG_FS.Init.low_power_enable = DISABLE;
  hpcd_USB_OTG_FS.Init.lpm_enable = DISABLE;
  hpcd_USB_OTG_FS.Init.battery_charging_enable = ENABLE;
  hpcd_USB_OTG_FS.Init.vbus_sensing_enable = ENABLE;
  hpcd_USB_OTG_FS.Init.use_dedicated_ep1 = DISABLE;
  if (HAL_PCD_Init(&hpcd_USB_OTG_FS) != HAL_OK)
  {
    Error_Handler();
  }

}

static void MX_DMA_Init(void)
{

  /* DMA controller clock enable */
  __HAL_RCC_DMA1_CLK_ENABLE();

  /* DMA interrupt init */
  /* DMA1_Stream0_IRQn interrupt configuration */
  HAL_NVIC_SetPriority(DMA1_Stream0_IRQn, 0, 0);
  HAL_NVIC_EnableIRQ(DMA1_Stream0_IRQn);
  /* DMA1_Stream1_IRQn interrupt configuration */
  HAL_NVIC_SetPriority(DMA1_Stream1_IRQn, 0, 0);
  HAL_NVIC_EnableIRQ(DMA1_Stream1_IRQn);

}

static void MX_GPIO_Init(void)
{
  GPIO_InitTypeDef GPIO_InitStruct = {0};

  /* GPIO Ports Clock Enable */
  __HAL_RCC_GPIOE_CLK_ENABLE();
  __HAL_RCC_GPIOC_CLK_ENABLE();
  __HAL_RCC_GPIOF_CLK_ENABLE();
  __HAL_RCC_GPIOH_CLK_ENABLE();
  __HAL_RCC_GPIOA_CLK_ENABLE();
  __HAL_RCC_GPIOB_CLK_ENABLE();
  __HAL_RCC_GPIOG_CLK_ENABLE();
  __HAL_RCC_GPIOD_CLK_ENABLE();

  /*Configure GPIO pin Output Level */
  HAL_GPIO_WritePin(GPIOB, DIR_J1_Pin|DIR_J2_Pin|LD3_Pin|LD2_Pin, GPIO_PIN_RESET);

  /*Configure GPIO pin Output Level */
  HAL_GPIO_WritePin(GPIOF, DIR_J3_Pin|DIR_J4_Pin|EN_J1_Pin|EN_J2_Pin
                          |EN_J3_Pin, GPIO_PIN_RESET);

  /*Configure GPIO pin Output Level */
  HAL_GPIO_WritePin(GPIOG, EN_J4_Pin|GPIO_PIN_6, GPIO_PIN_RESET);

  /*Configure GPIO pin Output Level */
  HAL_GPIO_WritePin(Dynamixel_data_GPIO_Port, Dynamixel_data_Pin, GPIO_PIN_RESET);

  /*Configure GPIO pins : Proximity_J1_Pin Proximity_J2_Pin Proximity_J3_Pin Proximity_J4_Pin */
  GPIO_InitStruct.Pin = Proximity_J1_Pin|Proximity_J2_Pin|Proximity_J3_Pin|Proximity_J4_Pin;
  GPIO_InitStruct.Mode = GPIO_MODE_IT_FALLING;
  GPIO_InitStruct.Pull = GPIO_PULLUP;
  HAL_GPIO_Init(GPIOE, &GPIO_InitStruct);

  /*Configure GPIO pin : USER_Btn_Pin */
  GPIO_InitStruct.Pin = USER_Btn_Pin;
  GPIO_InitStruct.Mode = GPIO_MODE_IT_RISING;
  GPIO_InitStruct.Pull = GPIO_NOPULL;
  HAL_GPIO_Init(USER_Btn_GPIO_Port, &GPIO_InitStruct);

  /*Configure GPIO pins : DIR_J1_Pin DIR_J2_Pin LD3_Pin LD2_Pin */
  GPIO_InitStruct.Pin = DIR_J1_Pin|DIR_J2_Pin|LD3_Pin|LD2_Pin;
  GPIO_InitStruct.Mode = GPIO_MODE_OUTPUT_PP;
  GPIO_InitStruct.Pull = GPIO_NOPULL;
  GPIO_InitStruct.Speed = GPIO_SPEED_FREQ_LOW;
  HAL_GPIO_Init(GPIOB, &GPIO_InitStruct);

  /*Configure GPIO pins : DIR_J3_Pin DIR_J4_Pin EN_J1_Pin EN_J2_Pin
                           EN_J3_Pin */
  GPIO_InitStruct.Pin = DIR_J3_Pin|DIR_J4_Pin|EN_J1_Pin|EN_J2_Pin
                          |EN_J3_Pin;
  GPIO_InitStruct.Mode = GPIO_MODE_OUTPUT_PP;
  GPIO_InitStruct.Pull = GPIO_NOPULL;
  GPIO_InitStruct.Speed = GPIO_SPEED_FREQ_LOW;
  HAL_GPIO_Init(GPIOF, &GPIO_InitStruct);

  /*Configure GPIO pins : EN_J4_Pin PG6 */
  GPIO_InitStruct.Pin = EN_J4_Pin|GPIO_PIN_6;
  GPIO_InitStruct.Mode = GPIO_MODE_OUTPUT_PP;
  GPIO_InitStruct.Pull = GPIO_NOPULL;
  GPIO_InitStruct.Speed = GPIO_SPEED_FREQ_LOW;
  HAL_GPIO_Init(GPIOG, &GPIO_InitStruct);

  /*Configure GPIO pin : USB_OverCurrent_Pin */
  GPIO_InitStruct.Pin = USB_OverCurrent_Pin;
  GPIO_InitStruct.Mode = GPIO_MODE_INPUT;
  GPIO_InitStruct.Pull = GPIO_NOPULL;
  HAL_GPIO_Init(USB_OverCurrent_GPIO_Port, &GPIO_InitStruct);

  /*Configure GPIO pin : Dynamixel_data_Pin */
  GPIO_InitStruct.Pin = Dynamixel_data_Pin;
  GPIO_InitStruct.Mode = GPIO_MODE_OUTPUT_PP;
  GPIO_InitStruct.Pull = GPIO_NOPULL;
  GPIO_InitStruct.Speed = GPIO_SPEED_FREQ_LOW;
  HAL_GPIO_Init(Dynamixel_data_GPIO_Port, &GPIO_InitStruct);

  /* EXTI interrupt init*/
  HAL_NVIC_SetPriority(EXTI2_IRQn, 0, 0);
  HAL_NVIC_EnableIRQ(EXTI2_IRQn);

  HAL_NVIC_SetPriority(EXTI3_IRQn, 0, 0);
  HAL_NVIC_EnableIRQ(EXTI3_IRQn);

  HAL_NVIC_SetPriority(EXTI4_IRQn, 0, 0);
  HAL_NVIC_EnableIRQ(EXTI4_IRQn);

  HAL_NVIC_SetPriority(EXTI9_5_IRQn, 0, 0);
  HAL_NVIC_EnableIRQ(EXTI9_5_IRQn);

}

/* USER CODE BEGIN 4 */

void Update_Period(uint8_t Motor_Number[],double Freequency,float Duty_Cycle){

	/*******************************************************************************
	 **                                                                           **
	 **    Motor_Number : index 0 -> J1 , 1 -> J2 , 2 -> J3 , 3 -> J4             **
	 **    Freequency : Freequency that calculate from control or user command    **
	 **    Duty_Cycle : Duty cycle of pulse have value between 0 - 100            **
	 **                                                                           **
	 *******************************************************************************/

	double Period = 1000000/Freequency;
	uint32_t PWM = Period * Duty_Cycle / 100;

	if(Motor_Number[0] == 1){
		TIM13->ARR = Period; //update period
		TIM13->CCR1 = PWM;   //update duty cycle

	}
	else if(Motor_Number[1] == 1){
		TIM14->ARR = Period;
		TIM14->CCR1 = PWM;

	}
	else if(Motor_Number[2] == 1){
		TIM16->ARR = Period;
		TIM16->CCR1 = PWM;

	}
	else if(Motor_Number[3] == 1){
		TIM17->ARR = Period;
		TIM17->CCR1 = PWM;
	}
}

void HAL_GPIO_EXTI_Callback(uint16_t GPIO_Pin){
	if(GPIO_Pin == GPIO_PIN_12){
		Home_Set[0] ^= 0;
	}
	else if(GPIO_Pin == GPIO_PIN_13){
		Home_Set[1] ^= 0;
	}
	else if(GPIO_Pin == GPIO_PIN_14){
		Home_Set[2] ^= 0;
	}
	else if(GPIO_Pin == GPIO_PIN_15){
		Home_Set[3] ^= 0;
	}
//	else{
//		Error_Flag = Error_Flag | 0x1;
//	}
}
/* USER CODE END 4 */

void Error_Handler(void)
{
  /* USER CODE BEGIN Error_Handler_Debug */
  /* User can add his own implementation to report the HAL error return state */
  __disable_irq();
  while (1)
  {
	  count_error = 1;
  }
  /* USER CODE END Error_Handler_Debug */
}

/************************ (C) COPYRIGHT STMicroelectronics *****END OF FILE****/
